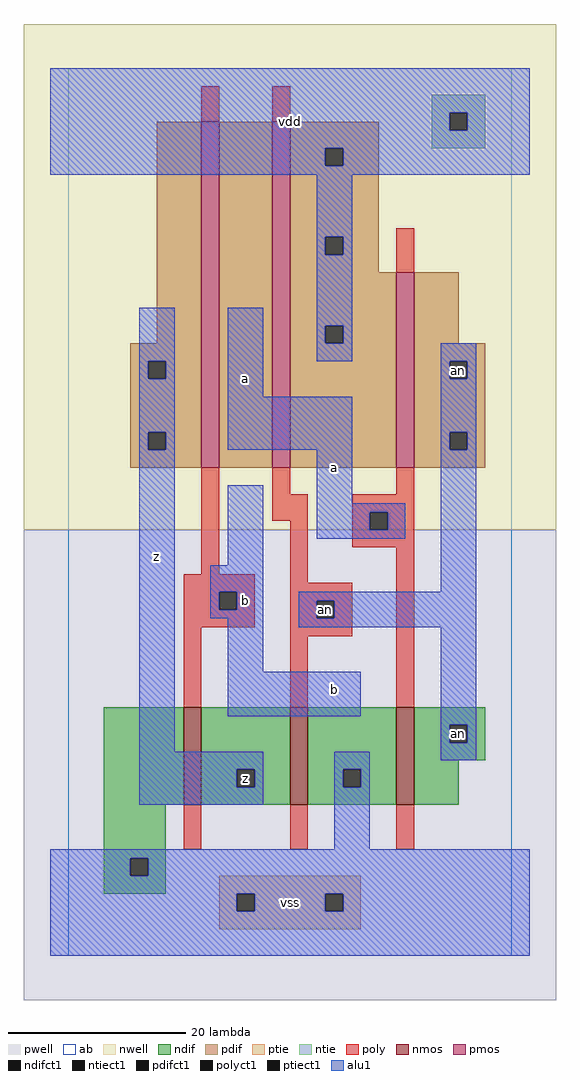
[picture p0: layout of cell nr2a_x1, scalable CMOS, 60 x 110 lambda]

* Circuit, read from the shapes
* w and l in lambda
.subckt nr2a_x1 a an b vdd vss z
M1 z b vss vss nfet w=11 l=2
M2 vss an z vss nfet w=11 l=2
M3 an a vss vss nfet w=11 l=2
M4 n1 b z vdd pfet w=39 l=2
M5 vdd an n1 vdd pfet w=39 l=2
M6 an a vdd vdd pfet w=22 l=2
.ends

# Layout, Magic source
magic
tech scmos
<< ab >>
rect 0 0 50 100
<< nwell >>
rect -5 48 55 105
<< pwell >>
rect -5 -5 55 48
<< poly >>
rect 15 94 17 98
rect 23 94 25 98
rect 37 77 39 82
rect 15 43 17 55
rect 23 52 25 55
rect 37 52 39 55
rect 23 49 27 52
rect 13 41 21 43
rect 13 39 17 41
rect 19 39 21 41
rect 13 37 21 39
rect 25 42 27 49
rect 32 50 39 52
rect 32 48 34 50
rect 36 48 39 50
rect 32 46 39 48
rect 25 40 32 42
rect 25 38 28 40
rect 30 38 32 40
rect 13 28 15 37
rect 25 36 32 38
rect 25 28 27 36
rect 37 28 39 46
rect 13 12 15 17
rect 25 12 27 17
rect 37 12 39 17
<< ndif >>
rect 4 17 13 28
rect 15 21 25 28
rect 15 19 19 21
rect 21 19 25 21
rect 15 17 25 19
rect 27 21 37 28
rect 27 19 31 21
rect 33 19 37 21
rect 27 17 37 19
rect 39 26 47 28
rect 39 24 43 26
rect 45 24 47 26
rect 39 22 47 24
rect 39 17 44 22
rect 4 11 11 17
rect 4 9 7 11
rect 9 9 11 11
rect 4 7 11 9
<< pdif >>
rect 10 69 15 94
rect 7 67 15 69
rect 7 65 9 67
rect 11 65 15 67
rect 7 59 15 65
rect 7 57 9 59
rect 11 57 15 59
rect 7 55 15 57
rect 17 55 23 94
rect 25 91 35 94
rect 25 89 29 91
rect 31 89 35 91
rect 25 81 35 89
rect 25 79 29 81
rect 31 79 35 81
rect 25 77 35 79
rect 25 71 37 77
rect 25 69 29 71
rect 31 69 37 71
rect 25 55 37 69
rect 39 69 44 77
rect 39 67 47 69
rect 39 65 43 67
rect 45 65 47 67
rect 39 59 47 65
rect 39 57 43 59
rect 45 57 47 59
rect 39 55 47 57
<< alu1 >>
rect -2 95 52 100
rect -2 93 43 95
rect 45 93 52 95
rect -2 91 52 93
rect -2 89 29 91
rect 31 89 52 91
rect -2 88 52 89
rect 28 81 32 88
rect 28 79 29 81
rect 31 79 32 81
rect 8 67 12 73
rect 8 65 9 67
rect 11 65 12 67
rect 8 59 12 65
rect 8 57 9 59
rect 11 57 12 59
rect 18 63 22 73
rect 28 71 32 79
rect 28 69 29 71
rect 31 69 32 71
rect 28 67 32 69
rect 42 67 46 69
rect 42 65 43 67
rect 45 65 46 67
rect 18 57 32 63
rect 8 23 12 57
rect 18 44 22 53
rect 28 51 32 57
rect 42 59 46 65
rect 42 57 43 59
rect 45 57 46 59
rect 28 50 38 51
rect 28 48 34 50
rect 36 48 38 50
rect 28 47 38 48
rect 16 41 22 44
rect 42 41 46 57
rect 16 39 17 41
rect 19 39 22 41
rect 16 38 22 39
rect 18 32 22 38
rect 26 40 46 41
rect 26 38 28 40
rect 30 38 46 40
rect 26 37 46 38
rect 18 27 33 32
rect 42 26 46 37
rect 42 24 43 26
rect 45 24 46 26
rect 8 21 22 23
rect 8 19 19 21
rect 21 19 22 21
rect 8 17 22 19
rect 30 21 34 23
rect 42 22 46 24
rect 30 19 31 21
rect 33 19 34 21
rect 30 12 34 19
rect -2 11 52 12
rect -2 9 7 11
rect 9 9 52 11
rect -2 7 52 9
rect -2 5 19 7
rect 21 5 29 7
rect 31 5 52 7
rect -2 0 52 5
<< ptie >>
rect 17 7 33 9
rect 17 5 19 7
rect 21 5 29 7
rect 31 5 33 7
rect 17 3 33 5
<< ntie >>
rect 41 95 47 97
rect 41 93 43 95
rect 45 93 47 95
rect 41 91 47 93
<< nmos >>
rect 13 17 15 28
rect 25 17 27 28
rect 37 17 39 28
<< pmos >>
rect 15 55 17 94
rect 23 55 25 94
rect 37 55 39 77
<< polyct1 >>
rect 17 39 19 41
rect 34 48 36 50
rect 28 38 30 40
<< ndifct1 >>
rect 19 19 21 21
rect 31 19 33 21
rect 43 24 45 26
rect 7 9 9 11
<< ntiect1 >>
rect 43 93 45 95
<< ptiect1 >>
rect 19 5 21 7
rect 29 5 31 7
<< pdifct1 >>
rect 9 65 11 67
rect 9 57 11 59
rect 29 89 31 91
rect 29 79 31 81
rect 29 69 31 71
rect 43 65 45 67
rect 43 57 45 59
<< labels >>
rlabel polyct1 29 39 29 39 6 an
rlabel ndifct1 44 25 44 25 6 an
rlabel pdifct1 44 66 44 66 6 an
rlabel ndifct1 20 20 20 20 6 z
rlabel alu1 10 45 10 45 6 z
rlabel alu1 20 40 20 40 6 b
rlabel alu1 20 65 20 65 6 a
rlabel alu1 25 6 25 6 6 vss
rlabel alu1 30 30 30 30 6 b
rlabel alu1 30 55 30 55 6 a
rlabel alu1 25 94 25 94 6 vdd
<< end >>
